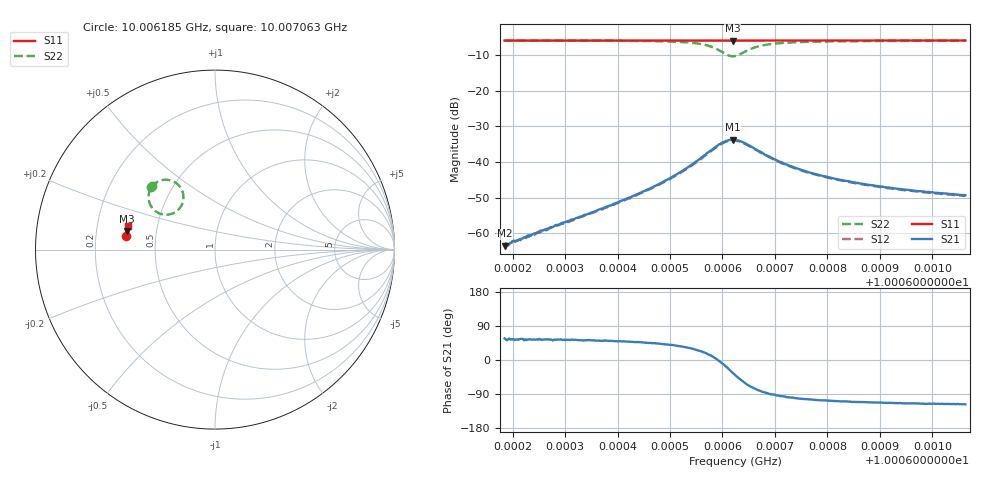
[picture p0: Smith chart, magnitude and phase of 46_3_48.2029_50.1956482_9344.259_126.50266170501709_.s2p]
#  HZ  S  RI  R  50.00
! Rohde & Schwarz Vector Network Analyzer
! Rohde-Schwarz,ZNB20-2Port,1311601062101988,3.16
! Created: UTC 3/20/2024, 11:38:05 AM
! freq[Hz]  re:S11  im:S11  re:S21  im:S21  re:S12  im:S12  re:S22  im:S22
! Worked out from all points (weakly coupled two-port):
!   401 points, 10.006185 GHz to 10.007063 GHz, reference 50 ohm
!   highest |S21| = -33.78 dB at 10.00662 GHz (marker M1); lowest = -63.5 dB at 10.006185 GHz (marker M2)
!   lowest |S11| = -6.0 dB at 10.00662 GHz (marker M3), VSWR 3.00, Z = 16.8 + j4.55 ohm
!   |S11| at or under -10 dB: nowhere
!   |S22| runs from -10.4 to -6.0 dB; largest |S21 - S12| = 0.0015
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1.00061848e10  -0.4964 0.0741  0.000365 0.00056  0.000349 0.000557  -0.3557 0.3505
1.00062002e10  -0.4962 0.0753  0.00046 0.000631  0.000408 0.000633  -0.3544 0.3519
1.00062112e10  -0.4961 0.0761  0.000482 0.000643  0.000421 0.000674  -0.3534 0.3528
1.00062507e10  -0.4958 0.0786  0.000596 0.000874  0.000544 0.000847  -0.3502 0.356
1.00063319e10  -0.495 0.0839  0.00106 0.00137  0.000966 0.0014  -0.3411 0.3639
1.00064241e10  -0.4942 0.0901  0.00214 0.00235  0.00196 0.00238  -0.3246 0.3753
1.0006479e10  -0.4935 0.0936  0.00355 0.00335  0.00331 0.00342  -0.3063 0.3838
1.00065251e10  -0.4927 0.0968  0.00623 0.00434  0.00588 0.00451  -0.2767 0.3891
1.0006569e10  -0.4917 0.0997  0.0124 0.00399  0.0117 0.0044  -0.2192 0.3727
1.00065844e10  -0.4911 0.1005  0.0157 0.00175  0.015 0.00245  -0.1922 0.346
1.00065998e10  -0.4906 0.1011  0.0184 -0.00289  0.0181 -0.00197  -0.1758 0.2972
1.00066107e10  -0.4903 0.1014  0.0186 -0.00756  0.0183 -0.0063  -0.1836 0.2528
1.00066195e10  -0.4902 0.1014  0.017 -0.0115  0.0173 -0.0102  -0.2056 0.2213
1.00066239e10  -0.4904 0.1016  0.0157 -0.0129  0.016 -0.0117  -0.2207 0.2094
1.00066415e10  -0.4905 0.1023  0.00946 -0.0158  0.01 -0.015  -0.2867 0.1952
1.00066568e10  -0.491 0.1033  0.00481 -0.0153  0.00567 -0.0147  -0.3283 0.2116
1.00066744e10  -0.4912 0.1045  0.00171 -0.0135  0.00239 -0.013  -0.3536 0.2375
1.00067205e10  -0.4909 0.1076  -0.00117 -0.00912  -0.000723 -0.00912  -0.37 0.2863
1.0006771e10  -0.4906 0.1111  -0.00173 -0.00672  -0.00142 -0.00667  -0.3677 0.3135
1.00068479e10  -0.4897 0.1161  -0.00183 -0.00485  -0.00155 -0.00484  -0.3602 0.3347
1.00069181e10  -0.4886 0.1206  -0.00172 -0.004  -0.00147 -0.00399  -0.3542 0.3462
1.0007063e10  -0.4866 0.1299  -0.00155 -0.00304  -0.00137 -0.00303  -0.3434 0.3613
